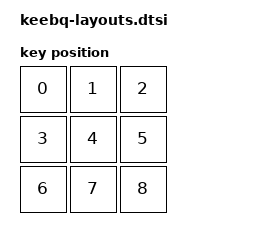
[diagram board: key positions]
#include <physical_layouts.dtsi>

/ {
      default_layout: default_layout {
        compatible = "zmk,physical-layout";
        display-name = "Default";
        transform = <&default_transform>;
        kscan = <&default_kscan>;

          keys
              = <&key_physical_attrs 100 100   0   0   0 0 0>
              , <&key_physical_attrs 100 100 100   0   0 0 0>
              , <&key_physical_attrs 100 100 200   0   0 0 0>
              , <&key_physical_attrs 100 100   0 100   0 0 0>
              , <&key_physical_attrs 100 100 100 100   0 0 0>
              , <&key_physical_attrs 100 100 200 100   0 0 0>
              , <&key_physical_attrs 100 100   0 200   0 0 0>
              , <&key_physical_attrs 100 100 100 200   0 0 0>
              , <&key_physical_attrs 100 100 200 200   0 0 0>
              ;
      };
  };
